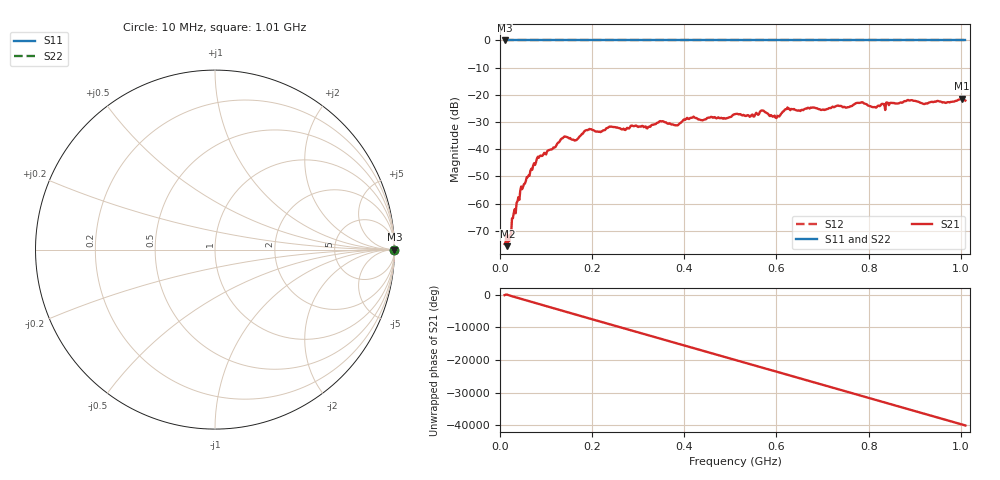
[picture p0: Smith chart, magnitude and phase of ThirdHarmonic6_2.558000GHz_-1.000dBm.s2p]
! 8/17/2025 5:16:33 AM
! C:\ANRITSUVNA\TEMP\TEMP.S2P
! CHANNEL.1
! TR.MEASUREMENT
! RAW.DATA
! RF.CORRECTION.OFF
! AVERAGING.OFF
! IF.BANDWIDTH: 5KHZ
! SWEEPTYPE:  FREQ.SWEEP(Linear)
! Reference Plane Port Info
! PORT:  PORT1  PORT2
! DISTANCE:  0  m  0  m
! TIME:  0  s  0  s
! PHASE.OFFSET:  0  deg.  0  deg.
! LOSS:  0  dB  0  dB
! REF.LOSS:  0  dB  0  dB
! REF.FREQ:  0  Hz  0  Hz
! Power Info
! POWER:  -20  dBm  -20  dBm
! EFF.POWER:  -20  dBm  -20  dBm
! SOURCE.ATTEN:  0  dB  0  dB
! TEST.ATTEN:  0  dB  0  dB
# GHZ S RI R 50.0
! FREQ.GHZ  S11RE  S11IM  S21RE  S21IM  S12RE  S12IM  S22RE  S22IM
!; PortSelection: Port_12
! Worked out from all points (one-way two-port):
!   501 points, 10 MHz to 1.01 GHz, reference 50 ohm
!   highest |S21| = -21.43 dB at 1.002 GHz (marker M1); lowest = -75.6 dB at 16 MHz (marker M2)
!   lowest |S11| = 0.0 dB at 10 MHz (marker M3)
!   |S11| at or under -10 dB: nowhere
!   |S22| runs from 0.0 to 0.0 dB; largest |S21 - S12| = 1.1
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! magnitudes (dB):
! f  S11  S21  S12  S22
! 10 MHz  0.0  -74.8  0.0  0.0
! 16 MHz  0.0  -75.6  0.0  0.0
! 20 MHz  0.0  -73.7  0.0  0.0
! 30 MHz  0.0  -63.3  0.0  0.0
! 48 MHz  0.0  -54.7  0.0  0.0
! 84 MHz  0.0  -43.1  0.0  0.0
! 138 MHz  0.0  -35.6  0.0  0.0
! 164 MHz  0.0  -36.7  0.0  0.0
! 178 MHz  0.0  -34.3  0.0  0.0
! 322 MHz  0.0  -31.7  0.0  0.0
! 344 MHz  0.0  -30.1  0.0  0.0
! 382 MHz  0.0  -31.2  0.0  0.0
! 418 MHz  0.0  -28.3  0.0  0.0
! 510 MHz  0.0  -27.1  0.0  0.0
! 548 MHz  0.0  -27.2  0.0  0.0
! 570 MHz  0.0  -25.8  0.0  0.0
! 602 MHz  0.0  -27.7  0.0  0.0
! 622 MHz  0.0  -25.2  0.0  0.0
! 678 MHz  0.0  -24.6  0.0  0.0
! 844 MHz  0.0  -23.8  0.0  0.0
! 1.002 GHz  0.0  -21.4  0.0  0.0
! 1.01 GHz  0.0  -22.1  0.0  0.0
